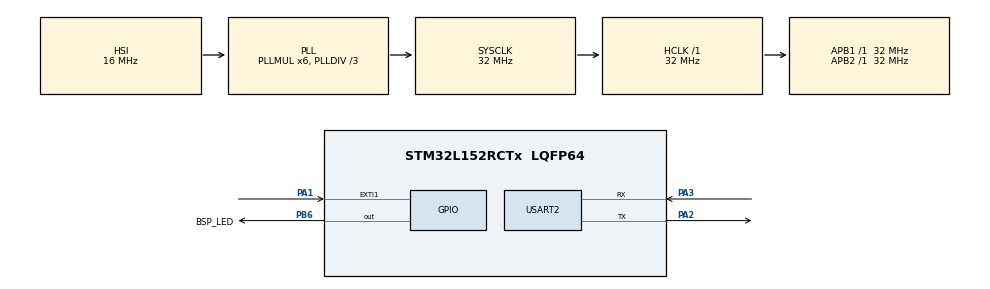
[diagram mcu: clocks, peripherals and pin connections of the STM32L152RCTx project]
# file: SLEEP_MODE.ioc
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Mcu.Family=STM32L1
Mcu.Name=STM32L152RCTx
Mcu.Package=LQFP64
NVIC.EXTI1_IRQn=true\:0\:0\:false\:false\:true\:true\:true\:true
NVIC.PriorityGroup=NVIC_PRIORITYGROUP_0
NVIC.USART2_IRQn=true\:0\:0\:false\:false\:true\:true\:true\:true
PA1.Signal=GPXTI1
PA13.Mode=Serial_Wire
PA13.Signal=SYS_JTMS-SWDIO
PA14.Mode=Serial_Wire
PA14.Signal=SYS_JTCK-SWCLK
PA2.Mode=Asynchronous
PA2.Signal=USART2_TX
PA3.Mode=Asynchronous
PA3.Signal=USART2_RX
PB6.GPIO_Label=BSP_LED
PB6.Signal=GPIO_Output
PH0-OSC_IN.Mode=HSE-External-Oscillator
PH0-OSC_IN.Signal=RCC_OSC_IN
PH1-OSC_OUT.Mode=HSE-External-Oscillator
PH1-OSC_OUT.Signal=RCC_OSC_OUT
ProjectManager.HeapSize=0x200
ProjectManager.StackSize=0x400
ProjectManager.TargetToolchain=STM32CubeIDE
RCC.48MHZClocksFreq_Value=48000000
RCC.AHBFreq_Value=32000000
RCC.APB1Freq_Value=32000000
RCC.APB1TimFreq_Value=32000000
RCC.APB2Freq_Value=32000000
RCC.APB2TimFreq_Value=32000000
RCC.HCLKFreq_Value=32000000
RCC.HSE_VALUE=8000000
RCC.HSI_VALUE=16000000
RCC.LSE_VALUE=32768
RCC.MSI_VALUE=2097000
RCC.PLLDIV=RCC_PLL_DIV3
RCC.PLLMUL=RCC_PLL_MUL6
RCC.RTCClockSelectionVirtual=RCC_RTCCLKSOURCE_LSE
RCC.SYSCLKFreq_VALUE=32000000
RCC.SYSCLKSource=RCC_SYSCLKSOURCE_PLLCLK
RCC.USBOutput=48000000
RCC.VCOOutputFreq_Value=96000000
USART2.VirtualMode=VM_ASYNC
board=STM32L152C-DISCO

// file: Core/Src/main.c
/* USER CODE BEGIN Header */
/**
  ******************************************************************************
  * @file           : main.c
  * @brief          : Main program body
  ******************************************************************************
  * @attention
  *
  * Copyright (c) 2023 STMicroelectronics.
  * All rights reserved.
  *
  * This software is licensed under terms that can be found in the LICENSE file
  * in the root directory of this software component.
  * If no LICENSE file comes with this software, it is provided AS-IS.
  *
  ******************************************************************************
  */
/* USER CODE END Header */
#include "main.h"

UART_HandleTypeDef huart2;

void SystemClock_Config(void);
static void MX_GPIO_Init(void);
static void MX_USART2_UART_Init(void);

/* USER CODE BEGIN 0 */

char *str={0};
uint8_t rxdata;

void HAL_UART_RxCpltCallback(UART_HandleTypeDef *huart){

	 HAL_UART_Receive_IT(&huart2,&rxdata,1);
	 str="Wakup from Sleep by UART\r\n ";
	 HAL_UART_Transmit(&huart2,(uint8_t *)str,strlen(str),HAL_MAX_DELAY);
}

void HAL_GPIO_EXTI_Callback(uint16_t GPIO_Pin){
	str="Wakup from Sleep by ExTI\r\n ";
	HAL_UART_Transmit(&huart2,(uint8_t *)str,strlen(str),HAL_MAX_DELAY);

/* USER CODE END 0 */

int main(void)
{

  /* MCU Configuration--------------------------------------------------------*/

  /* Reset of all peripherals, Initializes the Flash interface and the Systick. */
  HAL_Init();

  /* Configure the system clock */
  SystemClock_Config();

  /* Initialize all configured peripherals */
  MX_GPIO_Init();
  MX_USART2_UART_Init();
  /* USER CODE BEGIN 2 */

  HAL_UART_Receive_IT(&huart2,&rxdata,1);

  /* USER CODE END 2 */

  /* Infinite loop */
  while (1)
  {

    /* USER CODE BEGIN 3 */

	  str="Going into Sleep Mode in 5 Seconds\r\n ";
	  HAL_UART_Transmit(&huart2,(uint8_t *)str,strlen(str),HAL_MAX_DELAY);

	  HAL_GPIO_WritePin(BSP_LED_GPIO_Port,BSP_LED_Pin,1);
	  HAL_Delay(5000);
	  /*    Suspend Tick increment to prevent wakeup by Systick interrupt.
	 	  	Otherwise the Systick interrupt will wake up the device within 1ms (HAL time base)
	  */

	  HAL_SuspendTick();

	  HAL_GPIO_WritePin(BSP_LED_GPIO_Port,BSP_LED_Pin,0); // just to indicate sleep mode is activated

	  // Enter  Sleep Mode now.....

	  HAL_PWR_EnterSLEEPMode(PWR_MAINREGULATOR_ON,PWR_SLEEPENTRY_WFI);

	  HAL_PWR_EnableSleepOnExit();

	  HAL_ResumeTick();

	  str="Wake up to sleep mode\r\n ";
	  HAL_UART_Transmit(&huart2,(uint8_t *)str,strlen(str),HAL_MAX_DELAY);

	  for(int i=0;i<=20;i++){
	 	   HAL_GPIO_TogglePin(BSP_LED_GPIO_Port,BSP_LED_Pin);
	 	   HAL_Delay(5000);
	 }
  }
  /* USER CODE END 3 */
}

void SystemClock_Config(void)
{
  RCC_OscInitTypeDef RCC_OscInitStruct = {0};
  RCC_ClkInitTypeDef RCC_ClkInitStruct = {0};

  /** Configure the main internal regulator output voltage
  */
  __HAL_PWR_VOLTAGESCALING_CONFIG(PWR_REGULATOR_VOLTAGE_SCALE1);

  /** Initializes the RCC Oscillators according to the specified parameters
  * in the RCC_OscInitTypeDef structure.
  */
  RCC_OscInitStruct.OscillatorType = RCC_OSCILLATORTYPE_HSI;
  RCC_OscInitStruct.HSIState = RCC_HSI_ON;
  RCC_OscInitStruct.HSICalibrationValue = RCC_HSICALIBRATION_DEFAULT;
  RCC_OscInitStruct.PLL.PLLState = RCC_PLL_ON;
  RCC_OscInitStruct.PLL.PLLSource = RCC_PLLSOURCE_HSI;
  RCC_OscInitStruct.PLL.PLLMUL = RCC_PLL_MUL6;
  RCC_OscInitStruct.PLL.PLLDIV = RCC_PLL_DIV3;
  if (HAL_RCC_OscConfig(&RCC_OscInitStruct) != HAL_OK)
  {
    Error_Handler();
  }

  /** Initializes the CPU, AHB and APB buses clocks
  */
  RCC_ClkInitStruct.ClockType = RCC_CLOCKTYPE_HCLK|RCC_CLOCKTYPE_SYSCLK
                              |RCC_CLOCKTYPE_PCLK1|RCC_CLOCKTYPE_PCLK2;
  RCC_ClkInitStruct.SYSCLKSource = RCC_SYSCLKSOURCE_PLLCLK;
  RCC_ClkInitStruct.AHBCLKDivider = RCC_SYSCLK_DIV1;
  RCC_ClkInitStruct.APB1CLKDivider = RCC_HCLK_DIV1;
  RCC_ClkInitStruct.APB2CLKDivider = RCC_HCLK_DIV1;

  if (HAL_RCC_ClockConfig(&RCC_ClkInitStruct, FLASH_LATENCY_1) != HAL_OK)
  {
    Error_Handler();
  }
}

static void MX_USART2_UART_Init(void)
{

  huart2.Instance = USART2;
  huart2.Init.BaudRate = 115200;
  huart2.Init.WordLength = UART_WORDLENGTH_8B;
  huart2.Init.StopBits = UART_STOPBITS_1;
  huart2.Init.Parity = UART_PARITY_NONE;
  huart2.Init.Mode = UART_MODE_TX_RX;
  huart2.Init.HwFlowCtl = UART_HWCONTROL_NONE;
  huart2.Init.OverSampling = UART_OVERSAMPLING_16;
  if (HAL_UART_Init(&huart2) != HAL_OK)
  {
    Error_Handler();
  }

}

static void MX_GPIO_Init(void)
{
  GPIO_InitTypeDef GPIO_InitStruct = {0};

  /* GPIO Ports Clock Enable */
  __HAL_RCC_GPIOH_CLK_ENABLE();
  __HAL_RCC_GPIOA_CLK_ENABLE();
  __HAL_RCC_GPIOB_CLK_ENABLE();

  /*Configure GPIO pin Output Level */
  HAL_GPIO_WritePin(BSP_LED_GPIO_Port, BSP_LED_Pin, GPIO_PIN_RESET);

  /*Configure GPIO pin : PA1 */
  GPIO_InitStruct.Pin = GPIO_PIN_1;
  GPIO_InitStruct.Mode = GPIO_MODE_IT_RISING;
  GPIO_InitStruct.Pull = GPIO_NOPULL;
  HAL_GPIO_Init(GPIOA, &GPIO_InitStruct);

  /*Configure GPIO pin : BSP_LED_Pin */
  GPIO_InitStruct.Pin = BSP_LED_Pin;
  GPIO_InitStruct.Mode = GPIO_MODE_OUTPUT_PP;
  GPIO_InitStruct.Pull = GPIO_NOPULL;
  GPIO_InitStruct.Speed = GPIO_SPEED_FREQ_LOW;
  HAL_GPIO_Init(BSP_LED_GPIO_Port, &GPIO_InitStruct);

  /* EXTI interrupt init*/
  HAL_NVIC_SetPriority(EXTI1_IRQn, 0, 0);
  HAL_NVIC_EnableIRQ(EXTI1_IRQn);

}

void Error_Handler(void)
{
  __disable_irq();
  while (1)
  {
  }
}
